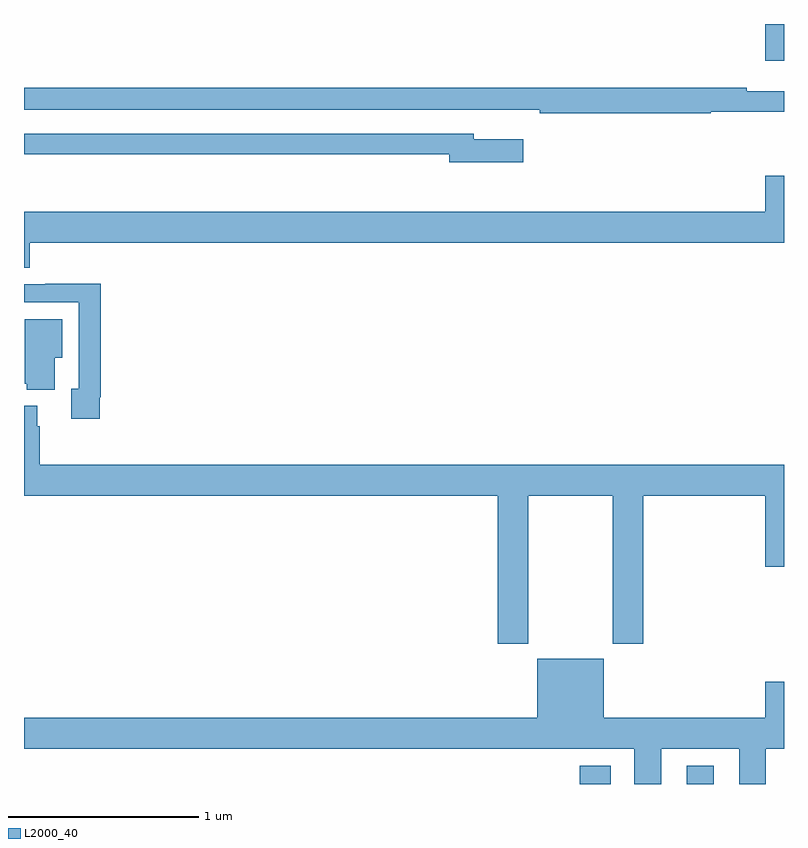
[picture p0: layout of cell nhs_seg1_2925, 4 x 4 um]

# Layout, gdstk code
import gdstk
lib = gdstk.Library(unit=1e-6, precision=1e-09)
def R(c, l, rs):  # rectangles x0, y0, x1, y1
    for r in rs: c.add(gdstk.rectangle(r[:2], r[2:], *l))
def P(c, l, *ps):  # polygons
    for p in ps: c.add(gdstk.Polygon(p, *l))
L2000_40 = (2000, 40)

nhs_seg1_2925 = lib.new_cell('nhs_seg1_2925')
R(nhs_seg1_2925, L2000_40, [(271.925,566.199,272.089,566.296), (272.489,566.199,272.629,566.296), (272.9,570.006,273,570.199)])
P(nhs_seg1_2925, L2000_40, [(272.614,569.736),(273,569.736),(273,569.845),(272.804,569.845),(272.804,569.864),(269,569.864),(269,569.748),(271.462,569.748),(271.462,569.747),(271.714,569.747),(271.714,569.728),(272.614,569.728)],
  [(271.627,569.593),(271.366,569.593),(271.366,569.622),(269,569.622),(269,569.514),(271.238,569.514),(271.238,569.471),(271.627,569.471)],
  [(269.03,569.048),(273,569.048),(273,569.401),(272.9,569.401),(272.9,569.212),(269,569.212),(269,568.915),(269.03,568.915)],
  [(269.398,568.234),(269.405,568.234),(269.405,568.832),(269.113,568.832),(269.113,568.83),(269,568.83),(269,568.734),(269.289,568.734),(269.289,568.278),(269.249,568.278),(269.249,568.122),(269.398,568.122)],
  [(269.161,568.442),(269.2,568.442),(269.2,568.645),(269.003,568.645),(269.003,568.305),(269.015,568.305),(269.015,568.274),(269.161,568.274)],
  [(271.653,567.716),(272.098,567.716),(272.098,566.937),(272.258,566.937),(272.258,567.716),(272.9,567.716),(272.9,567.342),(273,567.342),(273,567.88),(269.084,567.88),(269.084,568.082),(269.071,568.082),(269.071,568.189),(269,568.189),(269,567.716),(271.493,567.716),(271.493,566.937),(271.653,566.937)],
  [(272.353,566.384),(272.765,566.384),(272.765,566.199),(272.905,566.199),(272.905,566.384),(273,566.384),(273,566.737),(272.9,566.737),(272.9,566.548),(272.05,566.548),(272.05,566.857),(271.7,566.857),(271.7,566.548),(269,566.548),(269,566.384),(272.213,566.384),(272.213,566.199),(272.353,566.199)])

lib.write_gds('nhs_seg1_2925.gds')
